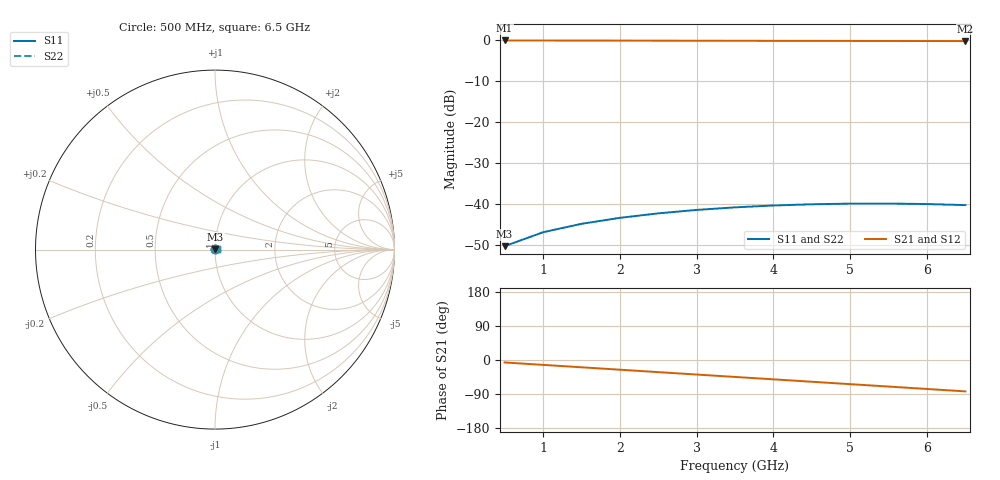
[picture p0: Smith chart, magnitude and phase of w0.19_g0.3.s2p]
! Sonnet Data File
! From: em Version : 19.54.2026
! From Project: w0.19_g0.3
! Data is De-embedded
! Data File Written: 11/09/2026 23:36:42
!< HDATE 11/09/2026 23:35:50
!< MDATE 11/09/2026 23:35:50
# GHZ S RI R 50.00000
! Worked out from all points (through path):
!   13 points, 500 MHz to 6.5 GHz, reference 50 ohm
!   highest |S21| = -0.03 dB at 500 MHz (marker M1); lowest = -0.2 dB at 6.5 GHz (marker M2)
!   group delay of S21, straight-line fit = 35.3 ps
!   lowest |S11| = -50.4 dB at 500 MHz (marker M3), VSWR 1.01, Z = 50.1 + j0.27 ohm
!   |S11| at or under -10 dB: start of sweep to end of sweep
!   |S22| runs from -50.4 to -40.0 dB; largest |S21 - S12| = 1e-12
0.5  0.00138 0.00269  0.9906 -0.1123  0.9906 -0.1123  0.00138 0.00269
1  0.00192 0.00404  0.9701 -0.2215  0.9701 -0.2215  0.00192 0.00404
1.5  0.00249 0.00509  0.938 -0.3274  0.938 -0.3274  0.00249 0.00509
2  0.00315 0.00593  0.8944 -0.4288  0.8944 -0.4288  0.00315 0.00593
2.5  0.00388 0.00655  0.8401 -0.5246  0.8401 -0.5246  0.00388 0.00655
3  0.00467 0.00697  0.7756 -0.6136  0.7756 -0.6136  0.00467 0.00697
3.5  0.00548 0.00717  0.7019 -0.6947  0.7019 -0.6947  0.00548 0.00717
4  0.00626 0.00716  0.6198 -0.7671  0.6198 -0.7671  0.00626 0.00716
4.5  0.00697 0.00695  0.5304 -0.8299  0.5304 -0.8299  0.00697 0.00695
5  0.00757 0.00656  0.4347 -0.8823  0.4347 -0.8823  0.00757 0.00656
5.5  0.00803 0.00602  0.3341 -0.9237  0.3341 -0.9237  0.00803 0.00602
6  0.00831 0.00538  0.2297 -0.9537  0.2297 -0.9537  0.00831 0.00538
6.5  0.0084 0.00468  0.1228 -0.972  0.1228 -0.972  0.0084 0.00468
